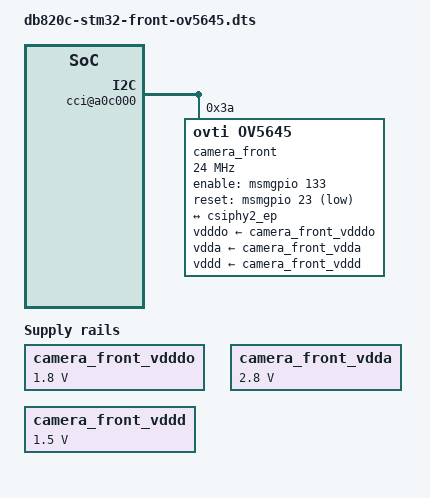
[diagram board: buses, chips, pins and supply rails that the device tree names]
/dts-v1/;
/plugin/;

#include <dt-bindings/clock/qcom,mmcc-msm8996.h>
#include <dt-bindings/gpio/gpio.h>

/ {
	fragment@0 {
		target-path = "/soc";
		__overlay__ {
			camera_front_vdddo: fixedregulator_camera_front@0 {
				compatible = "regulator-fixed";
				regulator-name = "camera_front_vdddo";
				regulator-min-microvolt = <1800000>;
				regulator-max-microvolt = <1800000>;
				regulator-always-on;
			};

			camera_front_vdda: fixedregulator_camera_front@1 {
				compatible = "regulator-fixed";
				regulator-name = "camera_front_vdda";
				regulator-min-microvolt = <2800000>;
				regulator-max-microvolt = <2800000>;
				regulator-always-on;
			};

			camera_front_vddd: fixedregulator_camera_front@2 {
				compatible = "regulator-fixed";
				regulator-name = "camera_front_vddd";
				regulator-min-microvolt = <1500000>;
				regulator-max-microvolt = <1500000>;
				regulator-always-on;
			};
		};
	};

	fragment@1 {
		target-path = "/soc/cci@a0c000";
		__overlay__ {
			status = "ok";

			camera_front@3a {
				compatible = "ovti,ov5645";
				reg = <0x3a>;

				enable-gpios = <&msmgpio 133 GPIO_ACTIVE_HIGH>;
				reset-gpios = <&msmgpio 23 GPIO_ACTIVE_LOW>;
				pinctrl-names = "default";
				pinctrl-0 = <&camera_front_default>;

				clocks = <&mmcc CAMSS_MCLK2_CLK>;
				clock-names = "xclk";
				clock-frequency = <24000000>;

				vdddo-supply = <&camera_front_vdddo>;
				vdda-supply = <&camera_front_vdda>;
				vddd-supply = <&camera_front_vddd>;

				status = "ok";

				port {
					camera_front_ep: endpoint {
						clock-lanes = <1>;
						data-lanes = <0 2>;
						remote-endpoint = <&csiphy2_ep>;
					};
				};
			};
		};
	};

	fragment@2 {
		target-path = "/soc/camss@a00000";
		__overlay__ {
			status = "ok";

			ports {
				#address-cells = <1>;
				#size-cells = <0>;
				port@2 {
					reg = <2>;
					csiphy2_ep: endpoint {
						clock-lanes = <7>;
						data-lanes = <0 1>;
						remote-endpoint = <&camera_front_ep>;
						status = "ok";
					};
				};
			};
		};
	};
};
